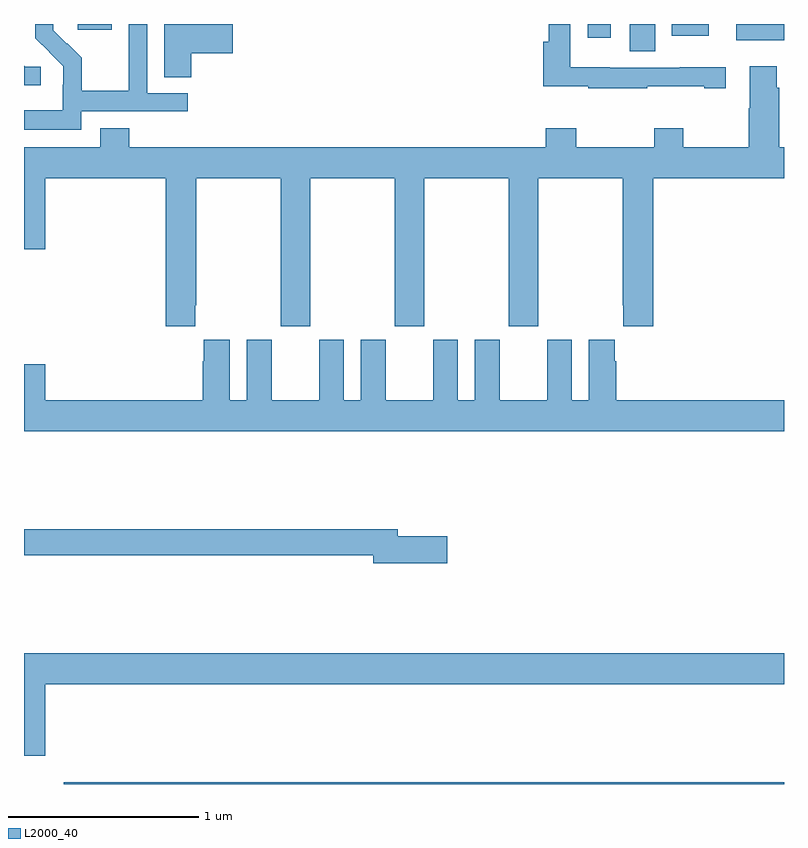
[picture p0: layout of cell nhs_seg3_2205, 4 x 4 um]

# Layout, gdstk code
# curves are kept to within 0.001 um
import gdstk
lib = gdstk.Library(unit=1e-6, precision=1e-09)
def R(c, l, rs):  # rectangles x0, y0, x1, y1
    for r in rs: c.add(gdstk.rectangle(r[:2], r[2:], *l))
def P(c, l, *ps):  # polygons
    for p in ps: c.add(gdstk.Polygon(p, *l))
L2000_40 = (2000, 40)

nhs_seg3_2205 = lib.new_cell('nhs_seg3_2205')
R(nhs_seg3_2205, L2000_40, [(225.208,692.4,229,692.408), (228.188,696.256,228.322,696.4), (228.749,696.314,229,696.4), (227.966,696.327,228.088,696.4), (228.41,696.338,228.604,696.4), (225.284,696.369,225.463,696.4)])
P(nhs_seg3_2205, L2000_40, [(225.3,695.94),(225.862,695.94),(225.862,696.036),(225.648,696.036),(225.648,696.4),(225.552,696.4),(225.552,696.272),(225.55,696.272),(225.55,696.049),(225.305,696.049),(225.305,696.223),(225.228,696.3),(225.225,696.297),(225.155,696.368),(225.155,696.4),(225.06,696.4),(225.06,696.326),(225.206,696.178),(225.206,696.081),(225.204,696.081),(225.204,695.947),(225,695.947),(225,695.843),(225.3,695.843)],
  [(228.281,696.073),(228.581,696.073),(228.581,696.063),(228.694,696.063),(228.694,696.172),(228.45,696.172),(228.45,696.171),(228.084,696.171),(228.084,696.172),(227.874,696.172),(227.874,696.4),(227.762,696.4),(227.762,696.307),(227.732,696.307),(227.732,696.073),(227.971,696.073),(227.971,696.063),(228.281,696.063)],
  [(225.881,696.245),(226.099,696.245),(226.099,696.4),(225.737,696.4),(225.737,696.121),(225.881,696.121)],
  [(225.088,696.174),(225.006,696.174),(225,696.18),(225,696.077),(225.088,696.077)],
  [(225.901,694.921),(225.906,694.921),(225.906,695.588),(226.351,695.588),(226.351,694.809),(226.506,694.809),(226.506,695.588),(226.951,695.588),(226.951,694.809),(227.106,694.809),(227.106,695.588),(227.551,695.588),(227.551,694.809),(227.706,694.809),(227.706,695.588),(228.151,695.588),(228.151,694.921),(228.155,694.921),(228.155,694.809),(228.311,694.809),(228.311,695.588),(229,695.588),(229,695.752),(228.974,695.752),(228.974,696.065),(228.961,696.065),(228.961,696.178),(228.821,696.178),(228.821,695.957),(228.814,695.957),(228.814,695.752),(228.471,695.752),(228.471,695.851),(228.316,695.851),(228.316,695.752),(227.907,695.752),(227.907,695.851),(227.747,695.851),(227.747,695.752),(225.554,695.752),(225.554,695.851),(225.401,695.851),(225.401,695.752),(225,695.752),(225,695.214),(225.112,695.214),(225.112,695.588),(225.746,695.588),(225.746,694.809),(225.901,694.809)],
  [(229,694.42),(228.116,694.42),(228.116,694.625),(228.109,694.625),(228.109,694.738),(227.972,694.738),(227.972,694.42),(227.884,694.42),(227.884,694.738),(227.753,694.738),(227.753,694.42),(227.503,694.42),(227.503,694.738),(227.372,694.738),(227.372,694.42),(227.284,694.42),(227.284,694.738),(227.153,694.738),(227.153,694.42),(226.903,694.42),(226.903,694.738),(226.772,694.738),(226.772,694.42),(226.684,694.42),(226.684,694.738),(226.553,694.738),(226.553,694.42),(226.303,694.42),(226.303,694.738),(226.172,694.738),(226.172,694.42),(226.084,694.42),(226.084,694.738),(225.947,694.738),(225.947,694.625),(225.941,694.625),(225.941,694.42),(225.112,694.42),(225.112,694.609),(225,694.609),(225,694.256),(229,694.256)],
  [(227.227,693.704),(226.966,693.704),(226.966,693.74),(225,693.74),(225,693.604),(226.838,693.604),(226.838,693.562),(227.227,693.562)],
  [(225.112,692.924),(229,692.924),(229,693.088),(225,693.088),(225,692.55),(225.112,692.55)])

lib.write_gds('nhs_seg3_2205.gds')
